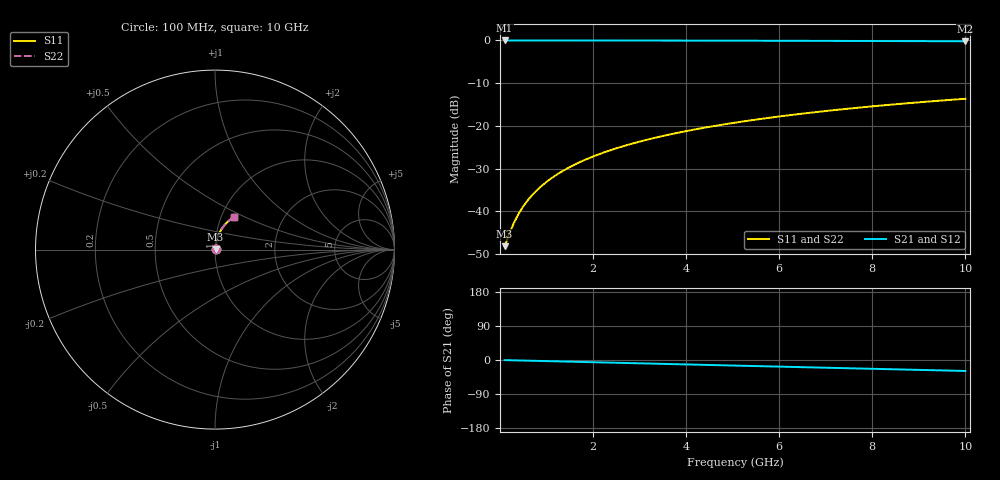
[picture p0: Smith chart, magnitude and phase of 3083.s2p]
# Hz S RI R 50.00
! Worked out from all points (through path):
!   100 points, 100 MHz to 10 GHz, reference 50 ohm
!   highest |S21| = -0.03 dB at 100 MHz (marker M1); lowest = -0.2 dB at 10 GHz (marker M2)
!   group delay of S21, straight-line fit = 8.04 ps
!   lowest |S11| = -48.1 dB at 100 MHz (marker M3), VSWR 1.01, Z = 50.3 + j0.218 ohm
!   |S11| at or under -10 dB: start of sweep to end of sweep
!   |S22| runs from -48.1 to -13.7 dB; largest |S21 - S12| = 0
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1e8  0.00326 0.00217  0.9967 -0.00508  0.9967 -0.00508  0.00326 0.00217
2e8  0.00331 0.00434  0.9967 -0.0102  0.9967 -0.0102  0.00331 0.00434
3e8  0.00338 0.00651  0.9966 -0.0152  0.9966 -0.0152  0.00338 0.00651
4e8  0.00347 0.00868  0.9964 -0.0203  0.9964 -0.0203  0.00347 0.00868
5e8  0.00358 0.0108  0.9963 -0.0254  0.9963 -0.0254  0.00358 0.0108
6e8  0.00371 0.013  0.9961 -0.0305  0.9961 -0.0305  0.00371 0.013
7e8  0.00386 0.0152  0.9959 -0.0356  0.9959 -0.0356  0.00386 0.0152
9e8  0.00423 0.0195  0.9954 -0.0457  0.9954 -0.0457  0.00423 0.0195
1e9  0.00445 0.0217  0.9951 -0.0508  0.9951 -0.0508  0.00445 0.0217
1.2e9  0.00494 0.026  0.9944 -0.0609  0.9944 -0.0609  0.00494 0.026
1.5e9  0.00585 0.0324  0.9932 -0.0761  0.9932 -0.0761  0.00585 0.0324
1.8e9  0.00695 0.0388  0.9916 -0.0912  0.9916 -0.0912  0.00695 0.0388
2.1e9  0.00825 0.0452  0.9898 -0.1064  0.9898 -0.1064  0.00825 0.0452
2.5e9  0.0103 0.0536  0.987 -0.1264  0.987 -0.1264  0.0103 0.0536
2.9e9  0.0126 0.0619  0.9837 -0.1464  0.9837 -0.1464  0.0126 0.0619
3.4e9  0.0161 0.0722  0.9789 -0.1713  0.9789 -0.1713  0.0161 0.0722
4.2e9  0.0226 0.0881  0.9697 -0.2106  0.9697 -0.2106  0.0226 0.0881
5.1e9  0.0315 0.1054  0.9573 -0.2541  0.9573 -0.2541  0.0315 0.1054
5.9e9  0.0406 0.1199  0.9443 -0.292  0.9443 -0.292  0.0406 0.1199
6.7e9  0.0509 0.1336  0.9296 -0.329  0.9296 -0.329  0.0509 0.1336
8.4e9  0.076 0.1597  0.8932 -0.4047  0.8932 -0.4047  0.076 0.1597
1e10  0.1032 0.1798  0.853 -0.4715  0.853 -0.4715  0.1032 0.1798
